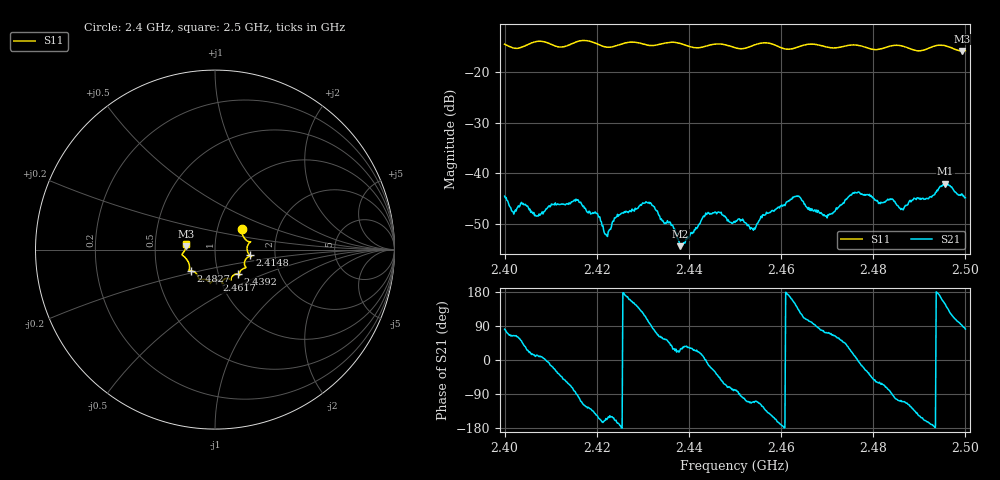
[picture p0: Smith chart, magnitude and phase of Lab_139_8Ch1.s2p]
# Hz S RI R 50
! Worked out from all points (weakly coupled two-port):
!   601 points, 2.4 GHz to 2.5 GHz, reference 50 ohm
!   highest |S21| = -42.09 dB at 2.4957 GHz (marker M1); lowest = -54.5 dB at 2.4382 GHz (marker M2)
!   lowest |S11| = -15.8 dB at 2.4993 GHz (marker M3), VSWR 1.39, Z = 36 + j1.46 ohm
!   |S11| at or under -10 dB: start of sweep to end of sweep
!   S12 and S22 are empty: the file has one direction only
!   S11 on the Smith chart (normalised r, x): 2.4 GHz: 1.31, +0.32; 2.4148 GHz: 1.47, -0.09; 2.4392 GHz: 1.24, -0.35; 2.4617 GHz: 0.96, -0.34; 2.4827 GHz: 0.75, -0.18; 2.5 GHz: 0.72, +0.05
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2.4e9  0.1514 0.1159  0.000892 0.00586  0 0  0 0
2.407e9  0.1984 0.0432  0.00366 0.000843  0 0  0 0
2.414833e9  0.1923 -0.0307  0.00129 -0.00509  0 0  0 0
2.416667e9  0.2034 -0.0389  -0.00169 -0.00469  0 0  0 0
2.422e9  0.1697 -0.0562  -0.00223 -0.00107  0 0  0 0
2.430333e9  0.1571 -0.1067  -0.00228 0.00452  0 0  0 0
2.433333e9  0.1366 -0.1303  0.00158 0.00362  0 0  0 0
2.438167e9  0.1346 -0.1394  0.00165 0.000929  0 0  0 0
2.439167e9  0.1283 -0.1359  0.00165 0.00119  0 0  0 0
2.444e9  0.0892 -0.1609  0.00395 -0.000546  0 0  0 0
2.45e9  0.0708 -0.1612  0.000642 -0.00318  0 0  0 0
2.453833e9  0.0398 -0.18  -0.001 -0.00262  0 0  0 0
2.461667e9  0.00828 -0.1698  -0.00528 0.000869  0 0  0 0
2.466667e9  -0.0263 -0.1893  -0.000731 0.00438  0 0  0 0
2.470167e9  -0.039 -0.1735  0.00125 0.00367  0 0  0 0
2.4765e9  -0.0894 -0.1637  0.00638 0.000211  0 0  0 0
2.482667e9  -0.1322 -0.1177  0.00164 -0.00499  0 0  0 0
2.483333e9  -0.138 -0.1169  0.00109 -0.00532  0 0  0 0
2.486167e9  -0.1445 -0.1132  -0.00151 -0.0042  0 0  0 0
2.495667e9  -0.1823 -0.0243  -0.00654 0.00436  0 0  0 0
2.499333e9  -0.1618 0.0197  -3.05e-05 0.00619  0 0  0 0
2.5e9  -0.1613 0.0316  0.000822 0.00565  0 0  0 0
